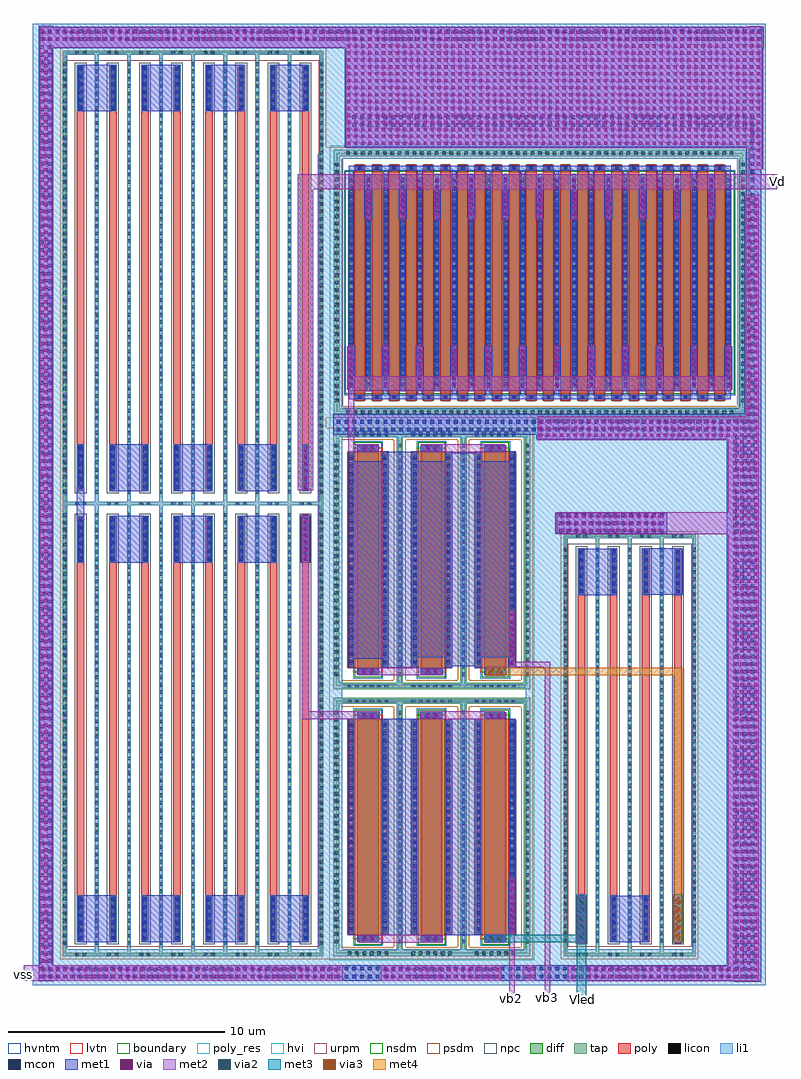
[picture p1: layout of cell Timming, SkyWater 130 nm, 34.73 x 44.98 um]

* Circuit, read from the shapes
.subckt Timming Vd Vled vb2 vb3 vss
XM1 Vd n1 n1 vss sky130_fd_pr__nfet_05v0_nvt w=10 l=0.5 m=22
XM2 n2 vb2 n3 vss sky130_fd_pr__nfet_05v0_nvt w=1 l=10
XM3 n1 vb3 n4 vss sky130_fd_pr__nfet_05v0_nvt w=1 l=10
XM4 n5 vb2 n3 vss sky130_fd_pr__nfet_05v0_nvt w=1 l=10
XM5 n6 vb3 n4 vss sky130_fd_pr__nfet_05v0_nvt w=1 l=10
XM6 n5 vb2 Vled vss sky130_fd_pr__nfet_05v0_nvt w=1 l=10
XM7 n6 vb3 n7 vss sky130_fd_pr__nfet_05v0_nvt w=1 l=10
XR8 n8 n9 vss sky130_fd_pr__res_xhigh_po w=0.35 l=15.38
XR9 n10 n8 vss sky130_fd_pr__res_xhigh_po w=0.35 l=15.38
XR10 n11 n9 vss sky130_fd_pr__res_xhigh_po w=0.35 l=15.38
XR11 n10 n12 vss sky130_fd_pr__res_xhigh_po w=0.35 l=15.38
XR12 n11 n13 vss sky130_fd_pr__res_xhigh_po w=0.35 l=15.38
XR13 n14 n12 vss sky130_fd_pr__res_xhigh_po w=0.35 l=15.38
XR14 n15 n13 vss sky130_fd_pr__res_xhigh_po w=0.35 l=15.38
XR15 n14 n16 vss sky130_fd_pr__res_xhigh_po w=0.35 l=15.38
XR16 n15 n17 vss sky130_fd_pr__res_xhigh_po w=0.35 l=15.38
XR17 n18 n16 vss sky130_fd_pr__res_xhigh_po w=0.35 l=15.38
XR18 n19 n17 vss sky130_fd_pr__res_xhigh_po w=0.35 l=15.38
XR19 n18 n20 vss sky130_fd_pr__res_xhigh_po w=0.35 l=15.38
XR20 n19 n21 vss sky130_fd_pr__res_xhigh_po w=0.35 l=15.38
XR21 n22 n20 vss sky130_fd_pr__res_xhigh_po w=0.35 l=15.38
XR22 n2 n21 vss sky130_fd_pr__res_xhigh_po w=0.35 l=15.38
XR23 n22 Vd vss sky130_fd_pr__res_xhigh_po w=0.35 l=15.38
XR24 n23 Vled vss sky130_fd_pr__res_xhigh_po w=0.35 l=13.88
XR25 n23 n24 vss sky130_fd_pr__res_xhigh_po w=0.35 l=13.88
XR26 n25 n24 vss sky130_fd_pr__res_xhigh_po w=0.35 l=13.88
XR27 n25 n7 vss sky130_fd_pr__res_xhigh_po w=0.35 l=13.88
.ends

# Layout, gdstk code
from math import pi, radians
import gdstk
lib = gdstk.Library(unit=1e-6, precision=1e-09)
def R(c, l, rs):  # rectangles x0, y0, x1, y1
    for r in rs: c.add(gdstk.rectangle(r[:2], r[2:], *l))
def A(c, l, x, y, w, h, nx, ny, dx, dy):  # array of equal rectangles
    R(c, l, [(x+i*dx, y+j*dy, x+i*dx+w, y+j*dy+h) for i in range(nx) for j in range(ny)])
diff = (65, 20)
tap = (65, 44)
poly_res = (66, 13)
poly = (66, 20)
licon = (66, 44)
li1 = (67, 20)
mcon = (67, 44)
met1 = (68, 20)
via = (68, 44)
met2 = (69, 20)
via2 = (69, 44)
met3 = (70, 20)
via3 = (70, 44)
met4 = (71, 20)
hvi = (75, 20)
urpm = (79, 20)
nsdm = (93, 44)
psdm = (94, 20)
npc = (95, 20)
hvntm = (125, 20)
lvtn = (125, 44)
boundary = (235, 4)

sky130_fd_pr__res_xhigh_ = lib.new_cell('sky130_fd_pr__res_xhigh_po_0p35_XV4A8Q')
R(sky130_fd_pr__res_xhigh_, tap, [(-0.825,-10.48,0.825,-10.31), (-0.825,-10.31,-0.655,10.31), (0.655,-10.31,0.825,10.31), (-0.825,10.31,0.825,10.48)])
R(sky130_fd_pr__res_xhigh_, poly_res, [(-0.175,-7.75,0.175,7.75)])
R(sky130_fd_pr__res_xhigh_, poly, [(-0.175,-9.83,0.175,9.83)])
A(sky130_fd_pr__res_xhigh_, licon, -0.825, -9.945, 0.17, 0.17, 1, 59, 0, 0.34)
A(sky130_fd_pr__res_xhigh_, licon, 0.655, -9.945, 0.17, 0.17, 1, 59, 0, 0.34)
R(sky130_fd_pr__res_xhigh_, licon, [(-0.255,-10.48,-0.085,-10.31), (0.085,-10.48,0.255,-10.31), (-0.095,-9.75,0.095,-7.75), (-0.095,7.75,0.095,9.75), (-0.255,10.31,-0.085,10.48), (0.085,10.31,0.255,10.48)])
R(sky130_fd_pr__res_xhigh_, li1, [(-0.825,-10.48,0.825,-10.31), (-0.825,-10.31,-0.655,10.31), (0.655,-10.31,0.825,10.31), (-0.175,-9.83,0.175,-7.67), (-0.175,7.67,0.175,9.83), (-0.825,10.31,0.825,10.48)])
A(sky130_fd_pr__res_xhigh_, mcon, -0.085, -9.735, 0.17, 0.17, 1, 6, 0, 0.36)
A(sky130_fd_pr__res_xhigh_, mcon, -0.085, 7.76, 0.17, 0.17, 1, 6, 0, 0.36)
R(sky130_fd_pr__res_xhigh_, met1, [(-0.125,-9.8,0.125,-7.695), (-0.125,7.695,0.125,9.8)])
R(sky130_fd_pr__res_xhigh_, urpm, [(-0.635,-10.03,0.635,10.03)])
R(sky130_fd_pr__res_xhigh_, psdm, [(-0.95,-10.605,0.95,10.605)])
R(sky130_fd_pr__res_xhigh_, npc, [(-0.27,-9.925,0.27,9.925)])
R(sky130_fd_pr__res_xhigh_, boundary, [(-0.74,-10.395,0.74,10.395)])

sky130_fd_pr__nfet_05v0_ = lib.new_cell('sky130_fd_pr__nfet_05v0_nvt_VR6AA6')
R(sky130_fd_pr__nfet_05v0_, diff, [(-5.29,-0.5,5.29,0.5)])
R(sky130_fd_pr__nfet_05v0_, tap, [(-5.96,-1.61,5.96,-1.32), (-5.96,-1.32,-5.67,1.32), (5.67,-1.32,5.96,1.32), (-5.96,1.32,5.96,1.61)])
R(sky130_fd_pr__nfet_05v0_, poly, [(-5,-0.94,5,0.94)])
A(sky130_fd_pr__nfet_05v0_, licon, -5.355, -1.55, 0.17, 0.17, 32, 2, 0.34, 2.93)
A(sky130_fd_pr__nfet_05v0_, licon, -5.9, -0.935, 0.17, 0.17, 1, 6, 0, 0.34)
A(sky130_fd_pr__nfet_05v0_, licon, 5.73, -0.935, 0.17, 0.17, 1, 6, 0, 0.34)
A(sky130_fd_pr__nfet_05v0_, licon, -4.845, -0.86, 0.17, 0.17, 29, 2, 0.34, 1.55)
A(sky130_fd_pr__nfet_05v0_, licon, -5.23, -0.425, 0.17, 0.17, 1, 3, 0, 0.34)
A(sky130_fd_pr__nfet_05v0_, licon, 5.06, -0.425, 0.17, 0.17, 1, 3, 0, 0.34)
R(sky130_fd_pr__nfet_05v0_, li1, [(-5.9,-1.55,5.9,-1.38), (-5.9,-1.38,-5.73,1.38), (5.73,-1.38,5.9,1.38), (-5,-0.86,5,-0.69), (-5.23,-0.52,-5.06,0.52), (5.06,-0.52,5.23,0.52), (-5,0.69,5,0.86), (-5.9,1.38,5.9,1.55)])
A(sky130_fd_pr__nfet_05v0_, mcon, -4.765, -0.86, 0.17, 0.17, 27, 2, 0.36, 1.55)
R(sky130_fd_pr__nfet_05v0_, mcon, [(-5.23,-0.265,-5.06,-0.095), (5.06,-0.265,5.23,-0.095), (-5.23,0.095,-5.06,0.265), (5.06,0.095,5.23,0.265)])
R(sky130_fd_pr__nfet_05v0_, met1, [(-4.98,-0.89,4.98,-0.66), (-5.26,-0.5,-5.03,0.5), (5.03,-0.5,5.26,0.5), (-4.98,0.66,4.98,0.89)])
R(sky130_fd_pr__nfet_05v0_, hvi, [(-6.145,-1.795,6.145,1.795)])
R(sky130_fd_pr__nfet_05v0_, nsdm, [(-5.415,-0.625,5.415,0.625)])
R(sky130_fd_pr__nfet_05v0_, psdm, [(-6.085,-1.735,6.085,-1.195), (-6.085,-1.195,-5.545,1.195), (5.545,-1.195,6.085,1.195), (-6.085,1.195,6.085,1.735)])
R(sky130_fd_pr__nfet_05v0_, npc, [(-4.945,-0.96,4.945,-0.59), (-4.945,0.59,4.945,0.96)])
R(sky130_fd_pr__nfet_05v0_, hvntm, [(-5.475,-0.685,5.475,0.685)])
R(sky130_fd_pr__nfet_05v0_, lvtn, [(-5.18,-0.68,5.18,0.68)])
R(sky130_fd_pr__nfet_05v0_, boundary, [(-5.81,-1.46,5.81,1.46)])

c_sky130_fd_pr__res_xhigh_ = lib.new_cell('sky130_fd_pr__res_xhigh_po_0p35_VEFZ9K')
R(c_sky130_fd_pr__res_xhigh_, tap, [(-0.825,-9.73,0.825,-9.56), (-0.825,-9.56,-0.655,9.56), (0.655,-9.56,0.825,9.56), (-0.825,9.56,0.825,9.73)])
R(c_sky130_fd_pr__res_xhigh_, poly_res, [(-0.175,-7,0.175,7)])
R(c_sky130_fd_pr__res_xhigh_, poly, [(-0.175,-9.08,0.175,9.08)])
A(c_sky130_fd_pr__res_xhigh_, licon, -0.825, -9.095, 0.17, 0.17, 1, 54, 0, 0.34)
A(c_sky130_fd_pr__res_xhigh_, licon, 0.655, -9.095, 0.17, 0.17, 1, 54, 0, 0.34)
R(c_sky130_fd_pr__res_xhigh_, licon, [(-0.255,-9.73,-0.085,-9.56), (0.085,-9.73,0.255,-9.56), (-0.095,-9,0.095,-7), (-0.095,7,0.095,9), (-0.255,9.56,-0.085,9.73), (0.085,9.56,0.255,9.73)])
R(c_sky130_fd_pr__res_xhigh_, li1, [(-0.825,-9.73,0.825,-9.56), (-0.825,-9.56,-0.655,9.56), (0.655,-9.56,0.825,9.56), (-0.175,-9.08,0.175,-6.92), (-0.175,6.92,0.175,9.08), (-0.825,9.56,0.825,9.73)])
A(c_sky130_fd_pr__res_xhigh_, mcon, -0.085, -8.985, 0.17, 0.17, 1, 6, 0, 0.36)
A(c_sky130_fd_pr__res_xhigh_, mcon, -0.085, 7.01, 0.17, 0.17, 1, 6, 0, 0.36)
R(c_sky130_fd_pr__res_xhigh_, met1, [(-0.125,-9.05,0.125,-6.945), (-0.125,6.945,0.125,9.05)])
R(c_sky130_fd_pr__res_xhigh_, urpm, [(-0.635,-9.28,0.635,9.28)])
R(c_sky130_fd_pr__res_xhigh_, psdm, [(-0.95,-9.855,0.95,9.855)])
R(c_sky130_fd_pr__res_xhigh_, npc, [(-0.27,-9.175,0.27,9.175)])
R(c_sky130_fd_pr__res_xhigh_, boundary, [(-0.74,-9.645,0.74,9.645)])

sky130_fd_pr__nfet_g5v0d = lib.new_cell('sky130_fd_pr__nfet_g5v0d10v5_RPP5GQ')
R(sky130_fd_pr__nfet_g5v0d, diff, [(-8.835,-5,8.835,5)])
R(sky130_fd_pr__nfet_g5v0d, tap, [(-9.505,-6.11,9.505,-5.82), (-9.505,-5.82,-9.215,5.82), (9.215,-5.82,9.505,5.82), (-9.505,5.82,9.505,6.11)])
A(sky130_fd_pr__nfet_g5v0d, poly, -8.545, -5.44, 0.5, 10.88, 22, 1, 0.79, 0)
A(sky130_fd_pr__nfet_g5v0d, licon, -8.925, -6.05, 0.17, 0.17, 53, 2, 0.34, 11.93)
A(sky130_fd_pr__nfet_g5v0d, licon, -9.445, -5.525, 0.17, 0.17, 1, 33, 0, 0.34)
A(sky130_fd_pr__nfet_g5v0d, licon, 9.275, -5.525, 0.17, 0.17, 1, 33, 0, 0.34)
A(sky130_fd_pr__nfet_g5v0d, licon, -8.38, -5.36, 0.17, 0.17, 22, 2, 0.79, 10.55)
A(sky130_fd_pr__nfet_g5v0d, licon, -8.775, -4.845, 0.17, 0.17, 23, 29, 0.79, 0.34)
A(sky130_fd_pr__nfet_g5v0d, li1, -8.545, -5.36, 0.5, 0.17, 22, 2, 0.79, 10.55)
A(sky130_fd_pr__nfet_g5v0d, li1, -8.775, -5.02, 0.17, 10.04, 23, 1, 0.79, 0)
R(sky130_fd_pr__nfet_g5v0d, li1, [(-9.445,-6.05,9.445,-5.88), (-9.445,-5.88,-9.275,5.88), (9.275,-5.88,9.445,5.88), (-9.445,5.88,9.445,6.05)])
A(sky130_fd_pr__nfet_g5v0d, mcon, -8.38, -5.36, 0.17, 0.17, 22, 2, 0.79, 10.55)
A(sky130_fd_pr__nfet_g5v0d, mcon, -8.775, -4.765, 0.17, 0.17, 23, 27, 0.79, 0.36)
A(sky130_fd_pr__nfet_g5v0d, met1, -8.525, -5.39, 0.46, 0.23, 22, 2, 0.79, 10.55)
A(sky130_fd_pr__nfet_g5v0d, met1, -8.805, -5, 0.23, 10, 23, 1, 0.79, 0)
R(sky130_fd_pr__nfet_g5v0d, hvi, [(-9.69,-6.295,9.69,6.295)])
R(sky130_fd_pr__nfet_g5v0d, nsdm, [(-8.96,-5.125,8.96,5.125)])
R(sky130_fd_pr__nfet_g5v0d, psdm, [(-9.63,-6.235,9.63,-5.695), (-9.63,-5.695,-9.09,5.695), (9.09,-5.695,9.63,5.695), (-9.63,5.695,9.63,6.235)])
A(sky130_fd_pr__nfet_g5v0d, npc, -8.48, -5.46, 0.37, 0.37, 22, 2, 0.79, 10.55)
R(sky130_fd_pr__nfet_g5v0d, hvntm, [(-9.02,-5.185,9.02,5.185)])
R(sky130_fd_pr__nfet_g5v0d, boundary, [(-9.36,-5.965,9.36,5.965)])

timming = lib.new_cell('Timming')
R(timming, li1, [(28.96,-13.97,62.725,-12.325), (28.96,-12.325,30.545,28.92), (42.09,-12.325,43.22,11.295), (51.68,-12.325,53.605,6.625), (59.35,-12.325,62.725,6.625), (51.68,6.625,62.725,11.295), (42.09,11.295,62.725,12.64), (42.09,12.64,43.22,24.125), (61.485,12.64,62.725,24.125), (42.09,24.125,62.725,24.34), (42.15,24.34,62.725,28.92), (28.955,28.92,62.725,30.355)])
A(timming, mcon, 29.28, -13.65, 0.17, 0.17, 92, 2, 0.36, 0.36)
A(timming, mcon, 29.28, -12.93, 0.17, 0.17, 1, 118, 0, 0.36)
A(timming, mcon, 29.64, -12.93, 0.17, 0.17, 1, 118, 0, 0.36)
A(timming, mcon, 61.32, -12.93, 0.17, 0.17, 3, 68, 0.36, 0.36)
A(timming, mcon, 53.185, 6.875, 0.17, 0.17, 14, 3, 0.36, 0.36)
A(timming, mcon, 42.96, 11.55, 0.17, 0.17, 54, 2, 0.36, 0.36)
A(timming, mcon, 62.04, 12.27, 0.17, 0.17, 1, 37, 0, 0.36)
A(timming, mcon, 43.68, 25.59, 0.17, 0.17, 52, 2, 0.36, 0.36)
A(timming, mcon, 29.28, 29.55, 0.17, 0.17, 93, 2, 0.36, 0.36)
A(timming, met1, 43.915, -11.955, 0.98, 0.26, 3, 2, 2.93, 10.29)
A(timming, met1, 43.915, 0.355, 0.98, 0.26, 3, 2, 2.93, 10.29)
A(timming, met1, 49.835, 13.255, 0.23, 0.18, 7, 1, 1.58, 0)
A(timming, met1, 43.45, 13.475, 0.36, 2, 12, 1, 1.58, 0)
A(timming, met1, 44.24, 21.355, 0.36, 2, 4, 1, 1.58, 0)
A(timming, met1, 52.14, 21.355, 0.36, 2, 6, 1, 1.58, 0)
A(timming, met1, 54.575, 23.405, 0.23, 0.17, 3, 1, 1.58, 0)
A(timming, met1, 46.675, 23.41, 0.23, 0.165, 5, 1, 1.58, 0)
R(timming, met1, [(61.27,-13.815,62.53,-13.76), (29.235,-13.79,29.895,-13.76), (53.62,-13.78,53.87,-13.76), (29.235,-13.76,62.53,-13.71), (29.225,-13.71,62.53,-13.04), (29.225,-13.04,29.895,29.21), (60.945,-13.04,62.53,11.19), (31.205,-11.99,32.585,-9.83), (34.2,-11.99,35.58,-9.83), (37.115,-11.99,38.495,-9.83), (40.12,-11.99,41.5,-9.83), (54.02,-11.99,54.47,-9.83), (55.765,-11.99,57.315,-11.96), (58.46,-11.99,58.915,-9.83), (55.55,-11.96,57.38,-9.855), (45.065,-11.66,46.675,-1.7), (47.995,-11.66,49.605,-1.7), (50.86,-11.6,51.22,-9.1), (43.515,-2.16,43.745,-1.7), (50.925,-2.16,51.155,-1.7), (45.065,0.65,46.675,1.085), (47.995,0.65,48.27,0.665), (49.33,0.65,49.605,0.665), (47.995,0.665,48.275,0.72), (49.32,0.665,49.605,0.72), (50.86,0.71,51.22,1.135), (47.995,0.72,49.605,1.135), (43.64,1.085,46.675,1.135), (43.64,1.135,51.22,3.26), (43.64,3.26,51.075,10.15), (54.235,4.01,55.785,4.035), (54.12,4.035,55.9,4.095), (57.03,4.035,58.915,6.14), (54.235,4.095,55.9,6.14), (41.395,5.505,41.645,5.51), (32.66,5.51,34.04,7.67), (35.67,5.51,37.05,7.67), (38.615,5.51,39.995,7.67), (41.295,5.51,41.745,7.67), (54.235,6.14,55.785,6.145), (57.215,6.14,58.765,6.17), (53.035,6.835,58.19,7.81), (30.985,7.47,31.335,8.965), (32.685,8.8,34.115,10.96), (35.65,8.8,37.08,10.96), (38.57,8.8,40,10.96), (41.34,8.89,41.7,10.89), (43.64,10.15,51.155,10.185), (45.065,10.185,46.675,10.61), (47.995,10.185,49.605,10.58), (50.925,10.185,51.155,10.61), (47.995,10.58,48.275,10.595), (49.32,10.58,49.605,10.595), (47.995,10.595,48.27,10.61), (49.33,10.595,49.605,10.61), (52.165,11.19,62.53,11.395), (42.795,11.395,62.53,12.37), (61.27,12.37,62.53,12.4), (61.755,12.4,62.53,22.415), (43.515,13.025,43.85,13.255), (44.215,13.025,44.62,13.255), (44.765,13.025,61.125,13.255), (43.515,13.255,43.745,13.44), (45.095,13.255,45.325,13.425), (46.675,13.255,46.905,13.425), (48.255,13.255,48.485,13.43), (60.895,13.255,61.125,13.415), (50.56,21.36,50.92,23.36), (61.84,22.415,62.53,23.66), (59.315,23.4,59.545,23.575), (60.895,23.4,61.125,23.575), (43.515,23.405,43.745,23.575), (45.095,23.405,45.325,23.575), (43.515,23.575,43.895,23.805), (44.165,23.575,61.125,23.805), (61.84,23.66,62.615,24.65), (43.33,24.65,62.615,29.21), (31.265,26.3,32.545,28.46), (34.225,26.3,35.655,28.46), (37.17,26.3,38.6,28.46), (40.085,26.3,41.515,28.46), (29.225,29.21,62.645,30.135), (29.235,30.135,62.645,30.215), (29.235,30.215,29.895,30.245)])
A(timming, via, 53.88, -13.655, 0.15, 0.15, 27, 2, 0.32, 0.32)
A(timming, via, 29.395, -13.645, 0.15, 0.15, 43, 2, 0.32, 0.32)
A(timming, via, 45.175, -13.645, 0.15, 0.15, 17, 2, 0.32, 0.32)
A(timming, via, 61.24, -13.015, 0.15, 0.15, 4, 76, 0.32, 0.32)
A(timming, via, 29.485, -12.94, 0.15, 0.15, 1, 132, 0, 0.32)
A(timming, via, 54.17, -11.785, 0.15, 0.15, 1, 6, 0, 0.32)
A(timming, via, 58.61, -11.785, 0.15, 0.15, 1, 6, 0, 0.32)
A(timming, via, 50.965, -11.545, 0.15, 0.15, 1, 8, 0, 0.32)
A(timming, via, 50.965, 0.79, 0.15, 0.15, 1, 8, 0, 0.32)
A(timming, via, 41.445, 5.715, 0.15, 0.15, 1, 6, 0, 0.32)
A(timming, via, 53.295, 6.925, 0.15, 0.15, 15, 3, 0.32, 0.32)
A(timming, via, 41.445, 9.015, 0.15, 0.15, 1, 6, 0, 0.32)
A(timming, via, 52.28, 11.305, 0.15, 0.15, 32, 3, 0.32, 0.32)
A(timming, via, 61.88, 12.265, 0.15, 0.15, 1, 32, 0, 0.32)
A(timming, via, 62.2, 12.265, 0.15, 0.15, 1, 32, 0, 0.32)
A(timming, via, 43.555, 13.6, 0.15, 0.15, 12, 6, 1.58, 0.32)
A(timming, via, 44.345, 21.48, 0.15, 0.15, 4, 6, 1.58, 0.32)
A(timming, via, 52.245, 21.48, 0.15, 0.15, 6, 6, 1.58, 0.32)
A(timming, via, 50.665, 21.485, 0.15, 0.15, 1, 6, 0, 0.32)
A(timming, via, 62.325, 23.8, 0.15, 0.15, 1, 3, 0, 0.32)
A(timming, via, 43.445, 24.76, 0.15, 0.15, 60, 15, 0.32, 0.32)
A(timming, via, 29.365, 29.56, 0.15, 0.15, 104, 2, 0.32, 0.32)
R(timming, via, [(51.75,-13.645,51.9,-13.495), (51.75,-13.325,51.9,-13.175), (44.17,-11.9,44.32,-11.75), (44.49,-11.9,44.64,-11.75), (47.1,-11.9,47.25,-11.75), (47.42,-11.9,47.57,-11.75), (50.03,-11.9,50.18,-11.75), (50.35,-11.9,50.5,-11.75), (44.17,-1.61,44.32,-1.46), (44.49,-1.61,44.64,-1.46), (47.1,-1.61,47.25,-1.46), (47.42,-1.61,47.57,-1.46), (50.03,-1.61,50.18,-1.46), (50.35,-1.61,50.5,-1.46), (44.17,0.41,44.32,0.56), (44.49,0.41,44.64,0.56), (47.1,0.41,47.25,0.56), (47.42,0.41,47.57,0.56), (50.03,0.41,50.18,0.56), (50.35,0.41,50.5,0.56), (44.17,10.7,44.32,10.85), (44.49,10.7,44.64,10.85), (47.1,10.7,47.25,10.85), (47.42,10.7,47.57,10.85), (50.03,10.7,50.18,10.85), (50.35,10.7,50.5,10.85)])
A(timming, met2, 43.5, 14.105, 0.26, 1.42, 12, 1, 1.58, 0)
A(timming, met2, 44.29, 21.305, 0.26, 1.42, 4, 1, 1.58, 0)
A(timming, met2, 52.19, 21.305, 0.26, 1.42, 6, 1, 1.58, 0)
R(timming, met2, [(50.91,-14.595,51.17,-9.05), (52.54,-14.52,52.8,0.68), (53.62,-13.78,62.42,-13.075), (28.535,-13.76,43.23,-13.055), (44.98,-13.76,50.535,-13.055), (51.545,-13.76,52.11,-13.055), (60.995,-13.075,62.42,6.81), (29.275,-13.055,29.845,29.245), (54.07,-12.04,54.42,-9.78), (58.51,-12.04,58.865,-9.78), (49.825,-12.02,50.705,-12.005), (43.965,-12.005,47.855,-11.645), (49.765,-12.005,50.705,-11.645), (49.825,-11.645,50.705,-11.63), (41.34,-1.715,44.94,-1.355), (46.795,-1.715,50.705,-1.355), (41.34,-1.355,41.7,5.975), (49.825,0.29,50.705,0.305), (43.965,0.305,47.875,0.665), (49.765,0.305,50.725,0.665), (49.825,0.665,50.705,0.68), (50.91,0.68,52.8,0.94), (50.91,0.94,51.17,3.31), (41.345,5.975,41.695,7.72), (57.98,6.81,62.42,6.815), (53.095,6.815,62.42,7.83), (60.995,7.83,62.42,11.14), (41.165,8.84,41.87,22.725), (43.5,10.595,44.905,10.955), (46.835,10.595,50.705,10.955), (43.5,10.955,43.76,13.425), (52.215,11.14,62.42,11.89), (52.215,11.89,62.415,12.245), (61.805,12.245,62.415,22.465), (43.5,13.425,61.14,14.105), (50.61,21.31,50.87,22.725), (41.165,22.725,63.265,23.405), (50.61,23.405,50.87,23.41), (61.955,23.61,62.565,24.6), (43.38,24.6,62.565,29.245), (29.275,29.245,62.565,30.185), (61.955,30.185,62.565,30.225)])
A(timming, via2, 54.145, -11.81, 0.2, 0.2, 1, 5, 0, 0.4)
A(timming, via2, 58.585, -11.81, 0.2, 0.2, 1, 5, 0, 0.4)
R(timming, via2, [(49.965,-11.925,50.165,-11.725), (50.365,-11.925,50.565,-11.725), (49.965,0.385,50.165,0.585), (50.365,0.385,50.565,0.585)])
R(timming, met3, [(54.02,-14.63,54.47,-11.995), (58.46,-12.015,58.915,-9.805), (49.775,-11.995,54.47,-11.655), (54.02,-11.655,54.47,-9.805), (49.775,0.315,50.755,0.655)])
A(timming, via3, 58.585, -11.81, 0.2, 0.2, 1, 5, 0, 0.4)
R(timming, via3, [(49.965,0.385,50.165,0.585), (50.365,0.385,50.565,0.585)])
R(timming, met4, [(58.505,-11.995,58.87,-11.98), (58.495,-11.98,58.875,0.32), (49.82,0.32,58.875,0.65)])
R(timming, hvi, [(42.61,-0.535,52.06,-0.515), (42.63,11.775,52.06,12.12)])
A(timming, urpm, 31.795, -12.19, 0.21, 20.06, 7, 2, 1.48, 20.79)
A(timming, urpm, 54.88, -12.19, 0.21, 18.56, 3, 1, 1.48, 0)
R(timming, urpm, [(30.525,7.87,42.155,8.6)])
R(timming, psdm, [(42.47,-12.765,42.67,-0.595), (42.47,-0.595,52,-0.455), (42.47,-0.455,42.67,11.715), (42.47,12.18,42.69,24.65)])
timming.add(gdstk.Reference(sky130_fd_pr__res_xhigh_, (34.12,-2.16)))
timming.add(gdstk.Reference(sky130_fd_pr__res_xhigh_, (32.64,-2.16)))
timming.add(gdstk.Reference(sky130_fd_pr__res_xhigh_, (31.16,-2.16)))
timming.add(gdstk.Reference(sky130_fd_pr__res_xhigh_, (31.16,18.63)))
timming.add(gdstk.Reference(sky130_fd_pr__res_xhigh_, (32.64,18.63)))
timming.add(gdstk.Reference(sky130_fd_pr__res_xhigh_, (34.12,18.63)))
timming.add(gdstk.Reference(sky130_fd_pr__res_xhigh_, (37.08,-2.16)))
timming.add(gdstk.Reference(sky130_fd_pr__res_xhigh_, (35.6,-2.16)))
timming.add(gdstk.Reference(sky130_fd_pr__res_xhigh_, (35.6,18.63)))
timming.add(gdstk.Reference(sky130_fd_pr__res_xhigh_, (37.08,18.63)))
timming.add(gdstk.Reference(sky130_fd_pr__res_xhigh_, (41.52,-2.16)))
timming.add(gdstk.Reference(sky130_fd_pr__res_xhigh_, (40.04,-2.16)))
timming.add(gdstk.Reference(sky130_fd_pr__res_xhigh_, (38.56,-2.16)))
timming.add(gdstk.Reference(sky130_fd_pr__res_xhigh_, (38.56,18.63)))
timming.add(gdstk.Reference(sky130_fd_pr__res_xhigh_, (40.04,18.63)))
timming.add(gdstk.Reference(sky130_fd_pr__res_xhigh_, (41.52,18.63)))
timming.add(gdstk.Reference(sky130_fd_pr__nfet_05v0_, (44.405,-6.68), rotation=3*pi/2))
timming.add(gdstk.Reference(sky130_fd_pr__nfet_05v0_, (44.405,5.63), rotation=3*pi/2))
timming.add(gdstk.Reference(sky130_fd_pr__nfet_05v0_, (47.335,5.63), rotation=3*pi/2))
timming.add(gdstk.Reference(sky130_fd_pr__nfet_05v0_, (47.335,-6.68), rotation=3*pi/2))
timming.add(gdstk.Reference(sky130_fd_pr__nfet_05v0_, (50.265,-6.68), rotation=3*pi/2))
timming.add(gdstk.Reference(sky130_fd_pr__nfet_05v0_, (50.265,5.63), rotation=3*pi/2))
timming.add(gdstk.Reference(c_sky130_fd_pr__res_xhigh_, (55.725,-2.91)))
timming.add(gdstk.Reference(c_sky130_fd_pr__res_xhigh_, (57.205,-2.91)))
timming.add(gdstk.Reference(c_sky130_fd_pr__res_xhigh_, (54.245,-2.91)))
timming.add(gdstk.Reference(c_sky130_fd_pr__res_xhigh_, (58.685,-2.91)))
timming.add(gdstk.Reference(sky130_fd_pr__nfet_g5v0d, (52.32,18.415)))
timming.add(gdstk.Label('Vd', (63.26,23.075), layer=69, texttype=5))
timming.add(gdstk.Label('Vled', (54.3,-14.625), layer=70, texttype=5))
timming.add(gdstk.Label('vb2', (51.02,-14.59), layer=69, texttype=5))
timming.add(gdstk.Label('vb3', (52.655,-14.515), layer=69, texttype=5))
timming.add(gdstk.Label('vss', (28.54,-13.47), layer=69, texttype=5))

lib.write_gds('Timming.gds')
